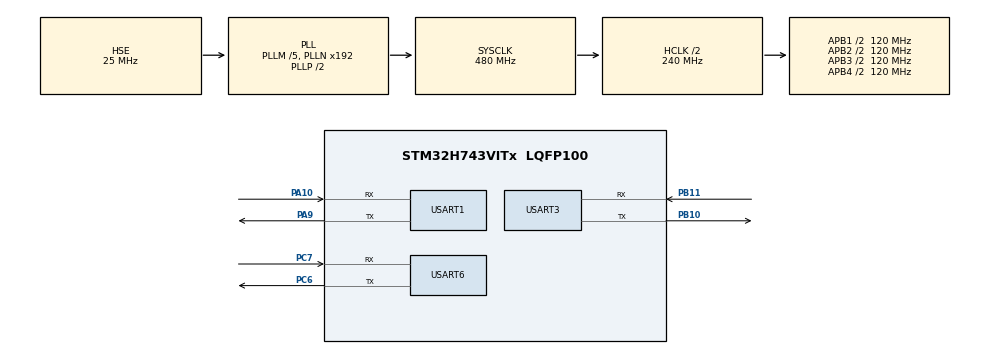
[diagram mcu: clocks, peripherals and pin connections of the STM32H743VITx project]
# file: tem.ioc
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CORTEX_M7.AccessPermission-Cortex_Memory_Protection_Unit_Region0_Settings=MPU_REGION_FULL_ACCESS
CORTEX_M7.AccessPermission-Cortex_Memory_Protection_Unit_Region1_Settings=MPU_REGION_FULL_ACCESS
CORTEX_M7.AccessPermission-Cortex_Memory_Protection_Unit_Region2_Settings=MPU_REGION_FULL_ACCESS
CORTEX_M7.AccessPermission-Cortex_Memory_Protection_Unit_Region3_Settings=MPU_REGION_FULL_ACCESS
CORTEX_M7.AccessPermission-Cortex_Memory_Protection_Unit_Region4_Settings=MPU_REGION_FULL_ACCESS
CORTEX_M7.BaseAddress-Cortex_Memory_Protection_Unit_Region0_Settings=0x24000000
CORTEX_M7.BaseAddress-Cortex_Memory_Protection_Unit_Region1_Settings=0x30000000
CORTEX_M7.BaseAddress-Cortex_Memory_Protection_Unit_Region2_Settings=0x30020000
CORTEX_M7.BaseAddress-Cortex_Memory_Protection_Unit_Region3_Settings=0x30040000
CORTEX_M7.BaseAddress-Cortex_Memory_Protection_Unit_Region4_Settings=0x38000000
CORTEX_M7.CPU_DCache=Enabled
CORTEX_M7.CPU_ICache=Enabled
CORTEX_M7.Enable-Cortex_Memory_Protection_Unit_Region0_Settings=MPU_REGION_ENABLE
CORTEX_M7.Enable-Cortex_Memory_Protection_Unit_Region1_Settings=MPU_REGION_ENABLE
CORTEX_M7.Enable-Cortex_Memory_Protection_Unit_Region2_Settings=MPU_REGION_ENABLE
CORTEX_M7.Enable-Cortex_Memory_Protection_Unit_Region3_Settings=MPU_REGION_ENABLE
CORTEX_M7.Enable-Cortex_Memory_Protection_Unit_Region4_Settings=MPU_REGION_ENABLE
CORTEX_M7.IsBufferable-Cortex_Memory_Protection_Unit_Region0_Settings=MPU_ACCESS_BUFFERABLE
CORTEX_M7.IsCacheable-Cortex_Memory_Protection_Unit_Region0_Settings=MPU_ACCESS_CACHEABLE
CORTEX_M7.MPU_Control=MPU_PRIVILEGED_DEFAULT
CORTEX_M7.Size-Cortex_Memory_Protection_Unit_Region0_Settings=MPU_REGION_SIZE_512KB
CORTEX_M7.Size-Cortex_Memory_Protection_Unit_Region1_Settings=MPU_REGION_SIZE_128KB
CORTEX_M7.Size-Cortex_Memory_Protection_Unit_Region2_Settings=MPU_REGION_SIZE_128KB
CORTEX_M7.Size-Cortex_Memory_Protection_Unit_Region3_Settings=MPU_REGION_SIZE_32KB
CORTEX_M7.Size-Cortex_Memory_Protection_Unit_Region4_Settings=MPU_REGION_SIZE_64KB
CORTEX_M7.TypeExtField-Cortex_Memory_Protection_Unit_Region0_Settings=MPU_TEX_LEVEL1
CORTEX_M7.TypeExtField-Cortex_Memory_Protection_Unit_Region1_Settings=MPU_TEX_LEVEL1
CORTEX_M7.TypeExtField-Cortex_Memory_Protection_Unit_Region2_Settings=MPU_TEX_LEVEL1
CORTEX_M7.TypeExtField-Cortex_Memory_Protection_Unit_Region3_Settings=MPU_TEX_LEVEL1
CORTEX_M7.TypeExtField-Cortex_Memory_Protection_Unit_Region4_Settings=MPU_TEX_LEVEL1
Mcu.Family=STM32H7
Mcu.Name=STM32H743VITx
Mcu.Package=LQFP100
NVIC.PriorityGroup=NVIC_PRIORITYGROUP_4
NVIC.USART1_IRQn=true\:0\:0\:false\:false\:true\:true\:true\:true
NVIC.USART3_IRQn=true\:0\:0\:false\:false\:true\:true\:true\:true
NVIC.USART6_IRQn=true\:0\:0\:false\:false\:true\:true\:true\:true
PA10.Mode=Asynchronous
PA10.Signal=USART1_RX
PA13\ (JTMS/SWDIO).Mode=Serial_Wire
PA13\ (JTMS/SWDIO).Signal=DEBUG_JTMS-SWDIO
PA14\ (JTCK/SWCLK).Mode=Serial_Wire
PA14\ (JTCK/SWCLK).Signal=DEBUG_JTCK-SWCLK
PA9.Mode=Asynchronous
PA9.Signal=USART1_TX
PB10.Mode=Asynchronous
PB10.Signal=USART3_TX
PB11.Mode=Asynchronous
PB11.Signal=USART3_RX
PC6.Mode=Asynchronous
PC6.Signal=USART6_TX
PC7.Mode=Asynchronous
PC7.Signal=USART6_RX
PH0-OSC_IN\ (PH0).Mode=HSE-External-Oscillator
PH0-OSC_IN\ (PH0).Signal=RCC_OSC_IN
PH1-OSC_OUT\ (PH1).Mode=HSE-External-Oscillator
PH1-OSC_OUT\ (PH1).Signal=RCC_OSC_OUT
ProjectManager.HeapSize=0x200
ProjectManager.StackSize=0x7400
ProjectManager.TargetToolchain=MDK-ARM V5.32
RCC.ADCFreq_Value=50390625
RCC.APB1Freq_Value=120000000
RCC.APB2Freq_Value=120000000
RCC.APB3Freq_Value=120000000
RCC.APB4Freq_Value=120000000
RCC.CortexFreq_Value=480000000
RCC.D1PPRE=RCC_APB3_DIV2
RCC.D2PPRE1=RCC_APB1_DIV2
RCC.D2PPRE2=RCC_APB2_DIV2
RCC.D3PPRE=RCC_APB4_DIV2
RCC.DIVM1=5
RCC.DIVN1=192
RCC.HCLKFreq_Value=240000000
RCC.HPRE=RCC_HCLK_DIV2
RCC.HSE_VALUE=25000000
RCC.PLLSourceVirtual=RCC_PLLSOURCE_HSE
RCC.PWR_Regulator_Voltage_Scale=PWR_REGULATOR_VOLTAGE_SCALE0
RCC.ProductRev=revV
RCC.SYSCLKFreq_VALUE=480000000
RCC.SYSCLKSource=RCC_SYSCLKSOURCE_PLLCLK
RCC.USBFreq_Value=480000000
TIM7.Prescaler=239
USART1.VirtualMode-Asynchronous=VM_ASYNC
USART3.VirtualMode-Asynchronous=VM_ASYNC
USART6.VirtualMode=VM_ASYNC
VP_TIM7_VS_ClockSourceINT.Mode=Enable_Timer
board=custom

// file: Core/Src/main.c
/* USER CODE BEGIN Header */
/**
  ******************************************************************************
  * @file           : main.c
  * @brief          : Main program body
  ******************************************************************************
  * @attention
  *
  * Copyright (c) 2025 STMicroelectronics.
  * All rights reserved.
  *
  * This software is licensed under terms that can be found in the LICENSE file
  * in the root directory of this software component.
  * If no LICENSE file comes with this software, it is provided AS-IS.
  *
  ******************************************************************************
  */
/* USER CODE END Header */
#include "main.h"
#include "tim.h"
#include "usart.h"
#include "gpio.h"

/* USER CODE BEGIN Includes */
#include "AllHeader.h"
/* USER CODE END Includes */

/* USER CODE BEGIN PV */
char message[100];
extern uint8_t g_new_package_flag;
uint8_t Rx3_Temp; // 用于接收USART3数据的临时变量
/* USER CODE END PV */

void SystemClock_Config(void);
static void MPU_Initialize(void);
static void MPU_Config(void);

int main(void)
{

  /* Enable I-Cache---------------------------------------------------------*/
  SCB_EnableICache();

  /* Enable D-Cache---------------------------------------------------------*/
  SCB_EnableDCache();

  /* MCU Configuration--------------------------------------------------------*/

  /* Reset of all peripherals, Initializes the Flash interface and the Systick. */
  HAL_Init();

  /* MPU Configuration--------------------------------------------------------*/
  MPU_Config();

  /* Configure the system clock */
  SystemClock_Config();

  /* Initialize all configured peripherals */
  MX_GPIO_Init();
  MX_TIM7_Init();
  MX_USART1_UART_Init();
  MX_USART3_UART_Init();
  MX_USART6_UART_Init();
  /* USER CODE BEGIN 2 */

	//先等待红外稳定，再将八路巡线器初始化
	HAL_Delay(1000);
	HAL_UART_Receive_IT(&huart3, &Rx3_Temp, 1);
	HAL_UART_Transmit(&huart3, (uint8_t *)"$0,0,1#", 7, HAL_MAX_DELAY);
	HAL_UART_Receive_IT(&huart3, &Rx3_Temp, 1);

  /* USER CODE END 2 */

  /* Infinite loop */
  /* USER CODE BEGIN WHILE */
  while (1)
  {
		if(g_new_package_flag == 1)
		{
			g_new_package_flag = 0;
			Deal_Usart_Data();
			sprintf(message,"x1:%d,x2:%d,x3:%d,x4:%d,x5:%d,x6:%d,x7:%d,x8:%d\r\n",IR_Data_number[0],IR_Data_number[1],IR_Data_number[2],IR_Data_number[3],IR_Data_number[4],IR_Data_number[5],IR_Data_number[6],IR_Data_number[7]);
			HAL_UART_Transmit(&huart1,(uint8_t *)message, strlen(message), HAL_MAX_DELAY);
			//巡线器数据存在IR_Data_number[]数组中
		}
    /* USER CODE END WHILE */

  }
}

void SystemClock_Config(void)
{
  RCC_OscInitTypeDef RCC_OscInitStruct = {0};
  RCC_ClkInitTypeDef RCC_ClkInitStruct = {0};

  /** Supply configuration update enable
  */
  HAL_PWREx_ConfigSupply(PWR_LDO_SUPPLY);

  /** Configure the main internal regulator output voltage
  */
  __HAL_PWR_VOLTAGESCALING_CONFIG(PWR_REGULATOR_VOLTAGE_SCALE1);

  while(!__HAL_PWR_GET_FLAG(PWR_FLAG_VOSRDY)) {}

  __HAL_RCC_SYSCFG_CLK_ENABLE();
  __HAL_PWR_VOLTAGESCALING_CONFIG(PWR_REGULATOR_VOLTAGE_SCALE0);

  while(!__HAL_PWR_GET_FLAG(PWR_FLAG_VOSRDY)) {}

  /** Initializes the RCC Oscillators according to the specified parameters
  * in the RCC_OscInitTypeDef structure.
  */
  RCC_OscInitStruct.OscillatorType = RCC_OSCILLATORTYPE_HSE;
  RCC_OscInitStruct.HSEState = RCC_HSE_ON;
  RCC_OscInitStruct.PLL.PLLState = RCC_PLL_ON;
  RCC_OscInitStruct.PLL.PLLSource = RCC_PLLSOURCE_HSE;
  RCC_OscInitStruct.PLL.PLLM = 5;
  RCC_OscInitStruct.PLL.PLLN = 192;
  RCC_OscInitStruct.PLL.PLLP = 2;
  RCC_OscInitStruct.PLL.PLLQ = 2;
  RCC_OscInitStruct.PLL.PLLR = 2;
  RCC_OscInitStruct.PLL.PLLRGE = RCC_PLL1VCIRANGE_2;
  RCC_OscInitStruct.PLL.PLLVCOSEL = RCC_PLL1VCOWIDE;
  RCC_OscInitStruct.PLL.PLLFRACN = 0;
  if (HAL_RCC_OscConfig(&RCC_OscInitStruct) != HAL_OK)
  {
    Error_Handler();
  }

  /** Initializes the CPU, AHB and APB buses clocks
  */
  RCC_ClkInitStruct.ClockType = RCC_CLOCKTYPE_HCLK|RCC_CLOCKTYPE_SYSCLK
                              |RCC_CLOCKTYPE_PCLK1|RCC_CLOCKTYPE_PCLK2
                              |RCC_CLOCKTYPE_D3PCLK1|RCC_CLOCKTYPE_D1PCLK1;
  RCC_ClkInitStruct.SYSCLKSource = RCC_SYSCLKSOURCE_PLLCLK;
  RCC_ClkInitStruct.SYSCLKDivider = RCC_SYSCLK_DIV1;
  RCC_ClkInitStruct.AHBCLKDivider = RCC_HCLK_DIV2;
  RCC_ClkInitStruct.APB3CLKDivider = RCC_APB3_DIV2;
  RCC_ClkInitStruct.APB1CLKDivider = RCC_APB1_DIV2;
  RCC_ClkInitStruct.APB2CLKDivider = RCC_APB2_DIV2;
  RCC_ClkInitStruct.APB4CLKDivider = RCC_APB4_DIV2;

  if (HAL_RCC_ClockConfig(&RCC_ClkInitStruct, FLASH_LATENCY_4) != HAL_OK)
  {
    Error_Handler();
  }
}

/* USER CODE BEGIN 4 */
void HAL_UART_RxCpltCallback(UART_HandleTypeDef *huart)
{
    // 判断中断是否来自USART3
    if (huart->Instance == USART3)
    {
        // 此时，接收到的一个字节数据已经由HAL库自动存入了Rx3_Temp变量中
        // 调用您的数据处理函数
        Deal_IR_Usart(Rx3_Temp);

        // 【关键】必须再次调用HAL_UART_Receive_IT()函数，以准备下一次的数据接收
        HAL_UART_Receive_IT(&huart3, &Rx3_Temp, 1);
    }
}
/* USER CODE END 4 */

/* MPU Configuration */

void MPU_Config(void)
{
  MPU_Region_InitTypeDef MPU_InitStruct = {0};

  /* Disables the MPU */
  HAL_MPU_Disable();

  /** Initializes and configures the Region and the memory to be protected
  */
  MPU_InitStruct.Enable = MPU_REGION_ENABLE;
  MPU_InitStruct.Number = MPU_REGION_NUMBER0;
  MPU_InitStruct.BaseAddress = 0x24000000;
  MPU_InitStruct.Size = MPU_REGION_SIZE_512KB;
  MPU_InitStruct.SubRegionDisable = 0x0;
  MPU_InitStruct.TypeExtField = MPU_TEX_LEVEL1;
  MPU_InitStruct.AccessPermission = MPU_REGION_FULL_ACCESS;
  MPU_InitStruct.DisableExec = MPU_INSTRUCTION_ACCESS_ENABLE;
  MPU_InitStruct.IsShareable = MPU_ACCESS_NOT_SHAREABLE;
  MPU_InitStruct.IsCacheable = MPU_ACCESS_CACHEABLE;
  MPU_InitStruct.IsBufferable = MPU_ACCESS_BUFFERABLE;

  HAL_MPU_ConfigRegion(&MPU_InitStruct);

  /** Initializes and configures the Region and the memory to be protected
  */
  MPU_InitStruct.Number = MPU_REGION_NUMBER1;
  MPU_InitStruct.BaseAddress = 0x30000000;
  MPU_InitStruct.Size = MPU_REGION_SIZE_128KB;
  MPU_InitStruct.IsCacheable = MPU_ACCESS_NOT_CACHEABLE;
  MPU_InitStruct.IsBufferable = MPU_ACCESS_NOT_BUFFERABLE;

  HAL_MPU_ConfigRegion(&MPU_InitStruct);

  /** Initializes and configures the Region and the memory to be protected
  */
  MPU_InitStruct.Number = MPU_REGION_NUMBER2;
  MPU_InitStruct.BaseAddress = 0x30020000;

  HAL_MPU_ConfigRegion(&MPU_InitStruct);

  /** Initializes and configures the Region and the memory to be protected
  */
  MPU_InitStruct.Number = MPU_REGION_NUMBER3;
  MPU_InitStruct.BaseAddress = 0x30040000;
  MPU_InitStruct.Size = MPU_REGION_SIZE_32KB;

  HAL_MPU_ConfigRegion(&MPU_InitStruct);

  /** Initializes and configures the Region and the memory to be protected
  */
  MPU_InitStruct.Number = MPU_REGION_NUMBER4;
  MPU_InitStruct.BaseAddress = 0x38000000;
  MPU_InitStruct.Size = MPU_REGION_SIZE_64KB;

  HAL_MPU_ConfigRegion(&MPU_InitStruct);
  /* Enables the MPU */
  HAL_MPU_Enable(MPU_PRIVILEGED_DEFAULT);

}

void Error_Handler(void)
{
  __disable_irq();
  while (1)
  {
  }
}
